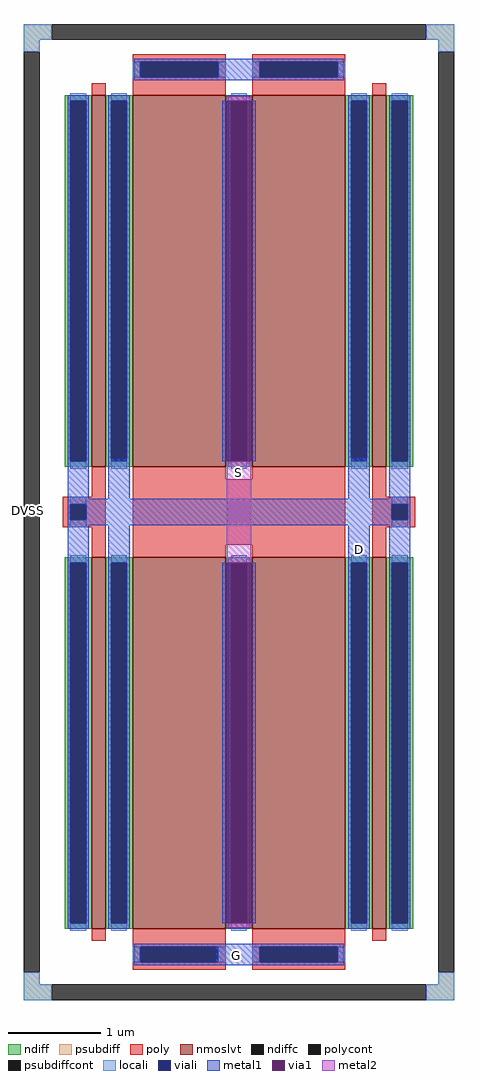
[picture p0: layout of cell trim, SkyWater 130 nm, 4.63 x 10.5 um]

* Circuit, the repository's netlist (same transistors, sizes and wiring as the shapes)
** sch_path: /home/gilang_fajrul/chipalooza/sky130_gff_ip__bgr_1.2v/magic/trim.sch
.subckt trim S DVSS G D
*.PININFO G:B D:B S:B DVSS:B
XM1 D G S DVSS sky130_fd_pr__nfet_01v8_lvt L=1 W=4 nf=1 m=4
XM2 D D D DVSS sky130_fd_pr__nfet_01v8_lvt L=0.15 W=4 nf=1 m=4
.ends
.end

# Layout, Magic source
magic
tech sky130A
magscale 1 2
<< psubdiff >>
rect -176 945 -116 979
rect 690 945 750 979
rect -176 919 -142 945
rect 716 919 750 945
rect -176 -1087 -142 -1061
rect 716 -1087 750 -1061
rect -176 -1121 -116 -1087
rect 690 -1121 750 -1087
<< psubdiffcont >>
rect -116 945 690 979
rect -176 -1061 -142 919
rect 716 -1061 750 919
rect -116 -1121 690 -1087
<< poly >>
rect -30 -38 0 26
rect -92 -54 0 -38
rect -92 -88 -76 -54
rect -42 -88 0 -54
rect -92 -104 0 -88
rect -30 -168 0 -104
rect 58 -142 516 0
rect 574 -38 604 0
rect 574 -54 666 -38
rect 574 -88 616 -54
rect 650 -88 666 -54
rect 574 -104 666 -88
rect 574 -142 604 -104
<< polycont >>
rect -76 -88 -42 -54
rect 616 -88 650 -54
<< locali >>
rect -176 945 -116 979
rect 690 945 750 979
rect -176 919 -142 945
rect 716 919 750 945
rect -76 22 -42 26
rect -76 -54 -42 -38
rect -76 -104 -42 -88
rect 616 -54 650 -38
rect 616 -104 650 -88
rect -76 -168 -42 -164
rect -176 -1087 -142 -1061
rect 716 -1087 750 -1061
rect -176 -1121 -116 -1087
rect 690 -1121 750 -1087
<< viali >>
rect -76 -88 -42 -54
rect 616 -88 650 -54
<< metal1 >>
rect 245 858 330 904
rect -82 -42 -36 26
rect 6 -42 52 44
rect 251 38 261 814
rect 313 38 323 814
rect 522 -42 568 46
rect 610 -42 656 26
rect -82 -54 656 -42
rect -82 -88 -76 -54
rect -42 -88 616 -54
rect 650 -88 656 -54
rect -82 -100 656 -88
rect -82 -168 -36 -100
rect 6 -172 52 -100
rect 522 -170 568 -100
rect 610 -168 656 -100
rect 251 -956 261 -180
rect 313 -956 323 -180
rect 237 -1046 322 -1000
<< via1 >>
rect 261 38 313 814
rect 261 -956 313 -180
<< metal2 >>
rect 261 814 313 824
rect 261 -180 313 38
rect 261 -966 313 -956
use sky130_fd_pr__nfet_01v8_lvt_QJFS9J  sky130_fd_pr__nfet_01v8_lvt_QJFS9J_0
transform 1 0 589 0 1 -568
box -73 -426 73 426
use sky130_fd_pr__nfet_01v8_lvt_QJFS9J  sky130_fd_pr__nfet_01v8_lvt_QJFS9J_1
transform 1 0 -15 0 1 -568
box -73 -426 73 426
use sky130_fd_pr__nfet_01v8_lvt_QJFS9J  sky130_fd_pr__nfet_01v8_lvt_QJFS9J_2
transform 1 0 589 0 1 426
box -73 -426 73 426
use sky130_fd_pr__nfet_01v8_lvt_QJFS9J  sky130_fd_pr__nfet_01v8_lvt_QJFS9J_3
transform 1 0 -15 0 1 426
box -73 -426 73 426
use sky130_fd_pr__nfet_01v8_lvt_TGDTCU  sky130_fd_pr__nfet_01v8_lvt_TGDTCU_0
transform 1 0 287 0 1 457
box -287 -457 287 457
use sky130_fd_pr__nfet_01v8_lvt_UG4D4N  sky130_fd_pr__nfet_01v8_lvt_UG4D4N_0
transform 1 0 287 0 1 -599
box -287 -457 287 457
<< labels >>
flabel metal2 286 14 286 14 0 FreeSans 160 0 0 0 S
port 1 nsew
flabel metal1 282 -1026 282 -1026 0 FreeSans 160 0 0 0 G
port 2 nsew
flabel metal1 547 -151 547 -151 0 FreeSans 160 0 0 0 D
port 4 nsew
flabel psubdiffcont -165 -68 -165 -68 0 FreeSans 160 0 0 0 DVSS
port 7 nsew
<< end >>

# cell sky130_fd_pr__nfet_01v8_lvt_QJFS9J: kit device sky130_fd_pr__nfet_01v8_lvt, w 4 l 0.15 m 1 nf 1 diffcov 100 polycov 100 guard 0 glc 1 grc 1 gtc 1 gbc 1 tbcov 100 rlcov 100 topc 0 botc 0 poverlap 0 doverlap 1 lmin 0.15 wmin 0.42 compatible {sky130_fd_pr__nfet_01v8 sky130_fd_pr__nfet_01v8_lvt sky130_fd_bs_flash__special_sonosfet_star sky130_fd_pr__nfet_g5v0d10v5 sky130_fd_pr__nfet_05v0_nvt sky130_fd_pr__nfet_03v3_nvt} full_metal 1 viasrc 100 viadrn 100 viagate 100 viagb 0 viagr 0 viagl 0 viagt 0

# cell sky130_fd_pr__nfet_01v8_lvt_TGDTCU: kit device sky130_fd_pr__nfet_01v8_lvt, w 4 l 1 m 1 nf 2 diffcov 100 polycov 100 guard 0 glc 1 grc 1 gtc 1 gbc 1 tbcov 100 rlcov 100 topc 1 botc 0 poverlap 0 doverlap 1 lmin 0.15 wmin 0.42 compatible {sky130_fd_pr__nfet_01v8 sky130_fd_pr__nfet_01v8_lvt sky130_fd_bs_flash__special_sonosfet_star sky130_fd_pr__nfet_g5v0d10v5 sky130_fd_pr__nfet_05v0_nvt sky130_fd_pr__nfet_03v3_nvt} full_metal 1 viasrc 100 viadrn 100 viagate 100 viagb 0 viagr 0 viagl 0 viagt 0

# cell sky130_fd_pr__nfet_01v8_lvt_UG4D4N: kit device sky130_fd_pr__nfet_01v8_lvt, w 4 l 1 m 1 nf 2 diffcov 100 polycov 100 guard 0 glc 1 grc 1 gtc 1 gbc 1 tbcov 100 rlcov 100 topc 0 botc 1 poverlap 0 doverlap 1 lmin 0.15 wmin 0.42 compatible {sky130_fd_pr__nfet_01v8 sky130_fd_pr__nfet_01v8_lvt sky130_fd_bs_flash__special_sonosfet_star sky130_fd_pr__nfet_g5v0d10v5 sky130_fd_pr__nfet_05v0_nvt sky130_fd_pr__nfet_03v3_nvt} full_metal 1 viasrc 100 viadrn 100 viagate 100 viagb 0 viagr 0 viagl 0 viagt 0
